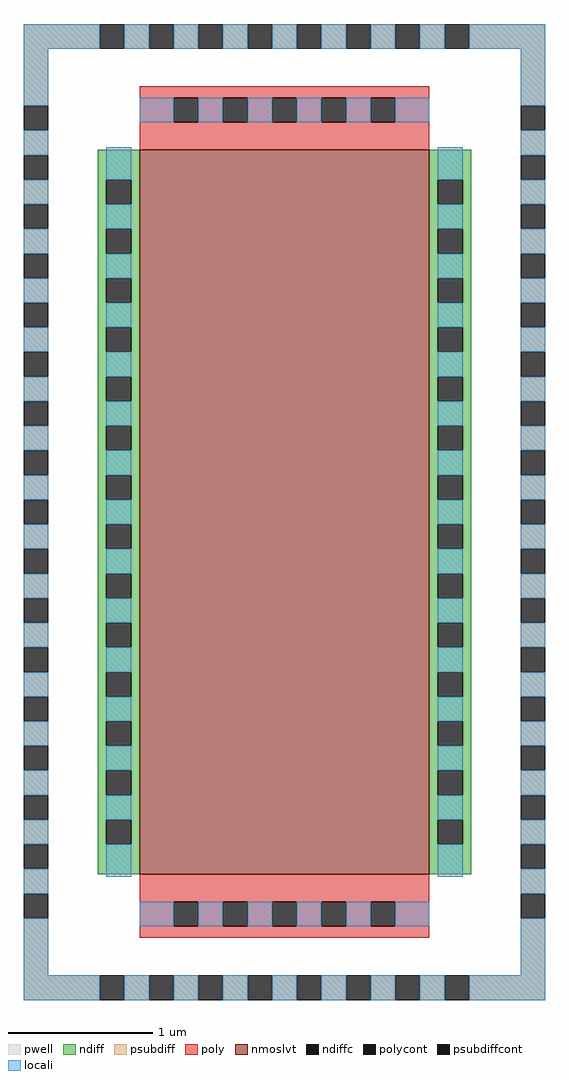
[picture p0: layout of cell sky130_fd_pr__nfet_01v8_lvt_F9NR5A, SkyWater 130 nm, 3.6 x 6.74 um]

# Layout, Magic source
magic
tech sky130A
magscale 1 2
<< pwell >>
rect -360 640 360 674
rect -360 -640 -326 640
rect 326 -640 360 640
rect -360 -674 360 -640
<< nmoslvt >>
rect -200 -500 200 500
<< ndiff >>
rect -258 459 -200 500
rect -258 425 -246 459
rect -212 425 -200 459
rect -258 391 -200 425
rect -258 357 -246 391
rect -212 357 -200 391
rect -258 323 -200 357
rect -258 289 -246 323
rect -212 289 -200 323
rect -258 255 -200 289
rect -258 221 -246 255
rect -212 221 -200 255
rect -258 187 -200 221
rect -258 153 -246 187
rect -212 153 -200 187
rect -258 119 -200 153
rect -258 85 -246 119
rect -212 85 -200 119
rect -258 51 -200 85
rect -258 17 -246 51
rect -212 17 -200 51
rect -258 -17 -200 17
rect -258 -51 -246 -17
rect -212 -51 -200 -17
rect -258 -85 -200 -51
rect -258 -119 -246 -85
rect -212 -119 -200 -85
rect -258 -153 -200 -119
rect -258 -187 -246 -153
rect -212 -187 -200 -153
rect -258 -221 -200 -187
rect -258 -255 -246 -221
rect -212 -255 -200 -221
rect -258 -289 -200 -255
rect -258 -323 -246 -289
rect -212 -323 -200 -289
rect -258 -357 -200 -323
rect -258 -391 -246 -357
rect -212 -391 -200 -357
rect -258 -425 -200 -391
rect -258 -459 -246 -425
rect -212 -459 -200 -425
rect -258 -500 -200 -459
rect 200 459 258 500
rect 200 425 212 459
rect 246 425 258 459
rect 200 391 258 425
rect 200 357 212 391
rect 246 357 258 391
rect 200 323 258 357
rect 200 289 212 323
rect 246 289 258 323
rect 200 255 258 289
rect 200 221 212 255
rect 246 221 258 255
rect 200 187 258 221
rect 200 153 212 187
rect 246 153 258 187
rect 200 119 258 153
rect 200 85 212 119
rect 246 85 258 119
rect 200 51 258 85
rect 200 17 212 51
rect 246 17 258 51
rect 200 -17 258 17
rect 200 -51 212 -17
rect 246 -51 258 -17
rect 200 -85 258 -51
rect 200 -119 212 -85
rect 246 -119 258 -85
rect 200 -153 258 -119
rect 200 -187 212 -153
rect 246 -187 258 -153
rect 200 -221 258 -187
rect 200 -255 212 -221
rect 246 -255 258 -221
rect 200 -289 258 -255
rect 200 -323 212 -289
rect 246 -323 258 -289
rect 200 -357 258 -323
rect 200 -391 212 -357
rect 246 -391 258 -357
rect 200 -425 258 -391
rect 200 -459 212 -425
rect 246 -459 258 -425
rect 200 -500 258 -459
<< ndiffc >>
rect -246 425 -212 459
rect -246 357 -212 391
rect -246 289 -212 323
rect -246 221 -212 255
rect -246 153 -212 187
rect -246 85 -212 119
rect -246 17 -212 51
rect -246 -51 -212 -17
rect -246 -119 -212 -85
rect -246 -187 -212 -153
rect -246 -255 -212 -221
rect -246 -323 -212 -289
rect -246 -391 -212 -357
rect -246 -459 -212 -425
rect 212 425 246 459
rect 212 357 246 391
rect 212 289 246 323
rect 212 221 246 255
rect 212 153 246 187
rect 212 85 246 119
rect 212 17 246 51
rect 212 -51 246 -17
rect 212 -119 246 -85
rect 212 -187 246 -153
rect 212 -255 246 -221
rect 212 -323 246 -289
rect 212 -391 246 -357
rect 212 -459 246 -425
<< psubdiff >>
rect -360 640 -255 674
rect -221 640 -187 674
rect -153 640 -119 674
rect -85 640 -51 674
rect -17 640 17 674
rect 51 640 85 674
rect 119 640 153 674
rect 187 640 221 674
rect 255 640 360 674
rect -360 561 -326 640
rect -360 493 -326 527
rect 326 561 360 640
rect -360 425 -326 459
rect -360 357 -326 391
rect -360 289 -326 323
rect -360 221 -326 255
rect -360 153 -326 187
rect -360 85 -326 119
rect -360 17 -326 51
rect -360 -51 -326 -17
rect -360 -119 -326 -85
rect -360 -187 -326 -153
rect -360 -255 -326 -221
rect -360 -323 -326 -289
rect -360 -391 -326 -357
rect -360 -459 -326 -425
rect -360 -527 -326 -493
rect 326 493 360 527
rect 326 425 360 459
rect 326 357 360 391
rect 326 289 360 323
rect 326 221 360 255
rect 326 153 360 187
rect 326 85 360 119
rect 326 17 360 51
rect 326 -51 360 -17
rect 326 -119 360 -85
rect 326 -187 360 -153
rect 326 -255 360 -221
rect 326 -323 360 -289
rect 326 -391 360 -357
rect 326 -459 360 -425
rect -360 -640 -326 -561
rect 326 -527 360 -493
rect 326 -640 360 -561
rect -360 -674 -255 -640
rect -221 -674 -187 -640
rect -153 -674 -119 -640
rect -85 -674 -51 -640
rect -17 -674 17 -640
rect 51 -674 85 -640
rect 119 -674 153 -640
rect 187 -674 221 -640
rect 255 -674 360 -640
<< psubdiffcont >>
rect -255 640 -221 674
rect -187 640 -153 674
rect -119 640 -85 674
rect -51 640 -17 674
rect 17 640 51 674
rect 85 640 119 674
rect 153 640 187 674
rect 221 640 255 674
rect -360 527 -326 561
rect 326 527 360 561
rect -360 459 -326 493
rect -360 391 -326 425
rect -360 323 -326 357
rect -360 255 -326 289
rect -360 187 -326 221
rect -360 119 -326 153
rect -360 51 -326 85
rect -360 -17 -326 17
rect -360 -85 -326 -51
rect -360 -153 -326 -119
rect -360 -221 -326 -187
rect -360 -289 -326 -255
rect -360 -357 -326 -323
rect -360 -425 -326 -391
rect -360 -493 -326 -459
rect 326 459 360 493
rect 326 391 360 425
rect 326 323 360 357
rect 326 255 360 289
rect 326 187 360 221
rect 326 119 360 153
rect 326 51 360 85
rect 326 -17 360 17
rect 326 -85 360 -51
rect 326 -153 360 -119
rect 326 -221 360 -187
rect 326 -289 360 -255
rect 326 -357 360 -323
rect 326 -425 360 -391
rect 326 -493 360 -459
rect -360 -561 -326 -527
rect 326 -561 360 -527
rect -255 -674 -221 -640
rect -187 -674 -153 -640
rect -119 -674 -85 -640
rect -51 -674 -17 -640
rect 17 -674 51 -640
rect 85 -674 119 -640
rect 153 -674 187 -640
rect 221 -674 255 -640
<< poly >>
rect -200 572 200 588
rect -200 538 -153 572
rect -119 538 -85 572
rect -51 538 -17 572
rect 17 538 51 572
rect 85 538 119 572
rect 153 538 200 572
rect -200 500 200 538
rect -200 -538 200 -500
rect -200 -572 -153 -538
rect -119 -572 -85 -538
rect -51 -572 -17 -538
rect 17 -572 51 -538
rect 85 -572 119 -538
rect 153 -572 200 -538
rect -200 -588 200 -572
<< polycont >>
rect -153 538 -119 572
rect -85 538 -51 572
rect -17 538 17 572
rect 51 538 85 572
rect 119 538 153 572
rect -153 -572 -119 -538
rect -85 -572 -51 -538
rect -17 -572 17 -538
rect 51 -572 85 -538
rect 119 -572 153 -538
<< locali >>
rect -360 640 -255 674
rect -221 640 -187 674
rect -153 640 -119 674
rect -85 640 -51 674
rect -17 640 17 674
rect 51 640 85 674
rect 119 640 153 674
rect 187 640 221 674
rect 255 640 360 674
rect -360 561 -326 640
rect -200 538 -153 572
rect -119 538 -85 572
rect -51 538 -17 572
rect 17 538 51 572
rect 85 538 119 572
rect 153 538 200 572
rect 326 561 360 640
rect -360 493 -326 527
rect -360 425 -326 459
rect -360 357 -326 391
rect -360 289 -326 323
rect -360 221 -326 255
rect -360 153 -326 187
rect -360 85 -326 119
rect -360 17 -326 51
rect -360 -51 -326 -17
rect -360 -119 -326 -85
rect -360 -187 -326 -153
rect -360 -255 -326 -221
rect -360 -323 -326 -289
rect -360 -391 -326 -357
rect -360 -459 -326 -425
rect -360 -527 -326 -493
rect -246 459 -212 504
rect -246 391 -212 425
rect -246 323 -212 357
rect -246 255 -212 289
rect -246 187 -212 221
rect -246 119 -212 153
rect -246 51 -212 85
rect -246 -17 -212 17
rect -246 -85 -212 -51
rect -246 -153 -212 -119
rect -246 -221 -212 -187
rect -246 -289 -212 -255
rect -246 -357 -212 -323
rect -246 -425 -212 -391
rect -246 -504 -212 -459
rect 212 459 246 504
rect 212 391 246 425
rect 212 323 246 357
rect 212 255 246 289
rect 212 187 246 221
rect 212 119 246 153
rect 212 51 246 85
rect 212 -17 246 17
rect 212 -85 246 -51
rect 212 -153 246 -119
rect 212 -221 246 -187
rect 212 -289 246 -255
rect 212 -357 246 -323
rect 212 -425 246 -391
rect 212 -504 246 -459
rect 326 493 360 527
rect 326 425 360 459
rect 326 357 360 391
rect 326 289 360 323
rect 326 221 360 255
rect 326 153 360 187
rect 326 85 360 119
rect 326 17 360 51
rect 326 -51 360 -17
rect 326 -119 360 -85
rect 326 -187 360 -153
rect 326 -255 360 -221
rect 326 -323 360 -289
rect 326 -391 360 -357
rect 326 -459 360 -425
rect 326 -527 360 -493
rect -360 -640 -326 -561
rect -200 -572 -153 -538
rect -119 -572 -85 -538
rect -51 -572 -17 -538
rect 17 -572 51 -538
rect 85 -572 119 -538
rect 153 -572 200 -538
rect 326 -640 360 -561
rect -360 -674 -255 -640
rect -221 -674 -187 -640
rect -153 -674 -119 -640
rect -85 -674 -51 -640
rect -17 -674 17 -640
rect 51 -674 85 -640
rect 119 -674 153 -640
rect 187 -674 221 -640
rect 255 -674 360 -640
<< properties >>
string FIXED_BBOX -342 -656 342 656
<< end >>
